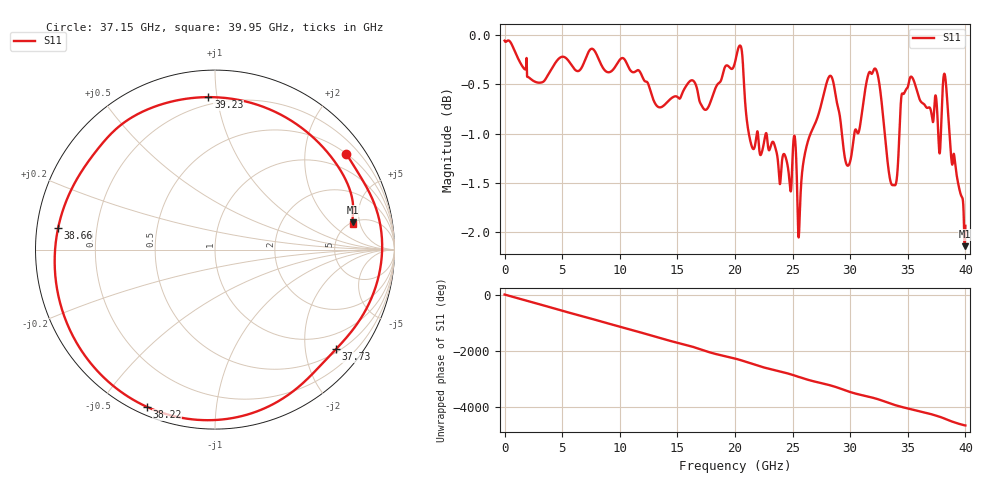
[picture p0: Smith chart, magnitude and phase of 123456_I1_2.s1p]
# MHz MA S R 50.0
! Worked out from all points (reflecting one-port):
!   8000 points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, 5 MHz to 40 GHz, reference 50 ohm
!   lowest |S11| = -2.1 dB at 39.94 GHz (marker M1), VSWR 8.15, Z = 250 + j196 ohm
!   phase of S11 starts at -1 deg and turns -4672 deg over the sweep
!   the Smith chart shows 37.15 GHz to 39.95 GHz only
!   S11 on the Smith chart (normalised r, x): 37.15 GHz: 0.51, +3.00; 37.73 GHz: 0.58, -2.68; 38.22 GHz: 0.03, -0.66; 38.66 GHz: 0.06, +0.07; 39.23 GHz: 0.15, +0.95; 39.95 GHz: 5.31, +3.87
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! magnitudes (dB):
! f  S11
! 5 MHz  -0.1
! 2.785 GHz  -0.5
! 5.005 GHz  -0.2
! 10.01 GHz  -0.2
! 15.01 GHz  -0.6
! 16.32 GHz  -0.5
! 17.52 GHz  -0.8
! 20 GHz  -0.3
! 20.52 GHz  -0.1
! 21.5 GHz  -1.1
! 25 GHz  -1.2
! 25.2 GHz  -1.0
! 25.59 GHz  -1.9
! 26.18 GHz  -1.1
! 28.27 GHz  -0.4
! 30 GHz  -1.3
! 32.17 GHz  -0.3
! 33.84 GHz  -1.5
! 34.49 GHz  -0.6
! 35.01 GHz  -0.5
! 37.15 GHz  -0.9
! 37.73 GHz  -1.2
! 38.22 GHz  -0.4
! 38.66 GHz  -1.1
! 39.23 GHz  -1.4
! 39.94 GHz  -2.1
! 39.95 GHz  -2.1
! 40 GHz  -1.9
